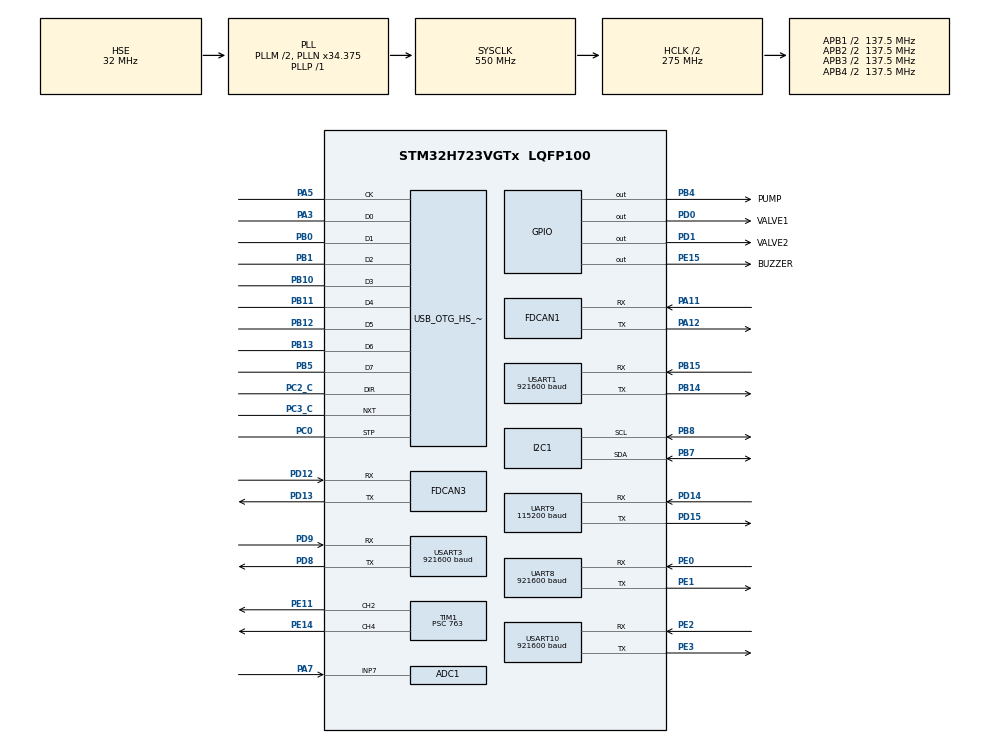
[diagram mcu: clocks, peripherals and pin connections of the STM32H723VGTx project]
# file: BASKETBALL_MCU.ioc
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ADC1.Channel-0\#ChannelRegularConversion=ADC_CHANNEL_7
ADC1.NbrOfConversionFlag=1
ADC1.OffsetNumber-0\#ChannelRegularConversion=ADC_OFFSET_NONE
ADC1.OffsetSignedSaturation-0\#ChannelRegularConversion=DISABLE
ADC1.Rank-0\#ChannelRegularConversion=1
ADC1.Resolution=ADC_RESOLUTION_16B
ADC1.SamplingTime-0\#ChannelRegularConversion=ADC_SAMPLETIME_1CYCLE_5
ADC1.master=1
CORTEX_M7.CPU_DCache=Enabled
CORTEX_M7.CPU_ICache=Enabled
Dma.I2C1_RX.3.Direction=DMA_PERIPH_TO_MEMORY
Dma.I2C1_RX.3.EventEnable=DISABLE
Dma.I2C1_RX.3.FIFOMode=DMA_FIFOMODE_DISABLE
Dma.I2C1_RX.3.Instance=DMA1_Stream2
Dma.I2C1_RX.3.MemDataAlignment=DMA_MDATAALIGN_BYTE
Dma.I2C1_RX.3.MemInc=DMA_MINC_ENABLE
Dma.I2C1_RX.3.Mode=DMA_NORMAL
Dma.I2C1_RX.3.PeriphDataAlignment=DMA_PDATAALIGN_BYTE
Dma.I2C1_RX.3.PeriphInc=DMA_PINC_DISABLE
Dma.I2C1_RX.3.Polarity=HAL_DMAMUX_REQ_GEN_RISING
Dma.I2C1_RX.3.Priority=DMA_PRIORITY_VERY_HIGH
Dma.I2C1_RX.3.RequestNumber=1
Dma.I2C1_RX.3.SignalID=NONE
Dma.I2C1_RX.3.SyncEnable=DISABLE
Dma.I2C1_RX.3.SyncPolarity=HAL_DMAMUX_SYNC_NO_EVENT
Dma.I2C1_RX.3.SyncRequestNumber=1
Dma.I2C1_RX.3.SyncSignalID=NONE
Dma.I2C1_TX.4.Direction=DMA_MEMORY_TO_PERIPH
Dma.I2C1_TX.4.EventEnable=DISABLE
Dma.I2C1_TX.4.FIFOMode=DMA_FIFOMODE_DISABLE
Dma.I2C1_TX.4.Instance=DMA1_Stream3
Dma.I2C1_TX.4.MemDataAlignment=DMA_MDATAALIGN_BYTE
Dma.I2C1_TX.4.MemInc=DMA_MINC_ENABLE
Dma.I2C1_TX.4.Mode=DMA_NORMAL
Dma.I2C1_TX.4.PeriphDataAlignment=DMA_PDATAALIGN_BYTE
Dma.I2C1_TX.4.PeriphInc=DMA_PINC_DISABLE
Dma.I2C1_TX.4.Polarity=HAL_DMAMUX_REQ_GEN_RISING
Dma.I2C1_TX.4.Priority=DMA_PRIORITY_VERY_HIGH
Dma.I2C1_TX.4.RequestNumber=1
Dma.I2C1_TX.4.SignalID=NONE
Dma.I2C1_TX.4.SyncEnable=DISABLE
Dma.I2C1_TX.4.SyncPolarity=HAL_DMAMUX_SYNC_NO_EVENT
Dma.I2C1_TX.4.SyncRequestNumber=1
Dma.I2C1_TX.4.SyncSignalID=NONE
Dma.MEMTOMEM.0.Direction=DMA_MEMORY_TO_MEMORY
Dma.MEMTOMEM.0.EventEnable=DISABLE
Dma.MEMTOMEM.0.FIFOMode=DMA_FIFOMODE_ENABLE
Dma.MEMTOMEM.0.FIFOThreshold=DMA_FIFO_THRESHOLD_FULL
Dma.MEMTOMEM.0.Instance=DMA1_Stream0
Dma.MEMTOMEM.0.MemBurst=DMA_MBURST_SINGLE
Dma.MEMTOMEM.0.MemDataAlignment=DMA_MDATAALIGN_BYTE
Dma.MEMTOMEM.0.MemInc=DMA_MINC_ENABLE
Dma.MEMTOMEM.0.Mode=DMA_NORMAL
Dma.MEMTOMEM.0.PeriphBurst=DMA_PBURST_SINGLE
Dma.MEMTOMEM.0.PeriphDataAlignment=DMA_PDATAALIGN_BYTE
Dma.MEMTOMEM.0.PeriphInc=DMA_PINC_ENABLE
Dma.MEMTOMEM.0.Polarity=HAL_DMAMUX_REQ_GEN_RISING
Dma.MEMTOMEM.0.Priority=DMA_PRIORITY_VERY_HIGH
Dma.MEMTOMEM.0.RequestNumber=1
Dma.MEMTOMEM.0.SignalID=NONE
Dma.MEMTOMEM.0.SyncEnable=DISABLE
Dma.MEMTOMEM.0.SyncPolarity=HAL_DMAMUX_SYNC_NO_EVENT
Dma.MEMTOMEM.0.SyncRequestNumber=1
Dma.MEMTOMEM.0.SyncSignalID=NONE
Dma.Request0=MEMTOMEM
Dma.Request1=USART1_RX
Dma.Request2=USART1_TX
Dma.Request3=I2C1_RX
Dma.Request4=I2C1_TX
Dma.Request5=USART3_RX
Dma.Request6=USART3_TX
Dma.USART1_RX.1.Direction=DMA_PERIPH_TO_MEMORY
Dma.USART1_RX.1.EventEnable=DISABLE
Dma.USART1_RX.1.FIFOMode=DMA_FIFOMODE_DISABLE
Dma.USART1_RX.1.Instance=DMA1_Stream5
Dma.USART1_RX.1.MemDataAlignment=DMA_MDATAALIGN_BYTE
Dma.USART1_RX.1.MemInc=DMA_MINC_ENABLE
Dma.USART1_RX.1.Mode=DMA_NORMAL
Dma.USART1_RX.1.PeriphDataAlignment=DMA_PDATAALIGN_BYTE
Dma.USART1_RX.1.PeriphInc=DMA_PINC_DISABLE
Dma.USART1_RX.1.Polarity=HAL_DMAMUX_REQ_GEN_RISING
Dma.USART1_RX.1.Priority=DMA_PRIORITY_VERY_HIGH
Dma.USART1_RX.1.RequestNumber=1
Dma.USART1_RX.1.SignalID=NONE
Dma.USART1_RX.1.SyncEnable=DISABLE
Dma.USART1_RX.1.SyncPolarity=HAL_DMAMUX_SYNC_NO_EVENT
Dma.USART1_RX.1.SyncRequestNumber=1
Dma.USART1_RX.1.SyncSignalID=NONE
Dma.USART1_TX.2.Direction=DMA_MEMORY_TO_PERIPH
Dma.USART1_TX.2.EventEnable=DISABLE
Dma.USART1_TX.2.FIFOMode=DMA_FIFOMODE_DISABLE
Dma.USART1_TX.2.Instance=DMA1_Stream4
Dma.USART1_TX.2.MemDataAlignment=DMA_MDATAALIGN_BYTE
Dma.USART1_TX.2.MemInc=DMA_MINC_ENABLE
Dma.USART1_TX.2.Mode=DMA_NORMAL
Dma.USART1_TX.2.PeriphDataAlignment=DMA_PDATAALIGN_BYTE
Dma.USART1_TX.2.PeriphInc=DMA_PINC_DISABLE
Dma.USART1_TX.2.Polarity=HAL_DMAMUX_REQ_GEN_RISING
Dma.USART1_TX.2.Priority=DMA_PRIORITY_VERY_HIGH
Dma.USART1_TX.2.RequestNumber=1
Dma.USART1_TX.2.SignalID=NONE
Dma.USART1_TX.2.SyncEnable=DISABLE
Dma.USART1_TX.2.SyncPolarity=HAL_DMAMUX_SYNC_NO_EVENT
Dma.USART1_TX.2.SyncRequestNumber=1
Dma.USART1_TX.2.SyncSignalID=NONE
Dma.USART3_RX.5.Direction=DMA_PERIPH_TO_MEMORY
Dma.USART3_RX.5.EventEnable=DISABLE
Dma.USART3_RX.5.FIFOMode=DMA_FIFOMODE_DISABLE
Dma.USART3_RX.5.Instance=DMA1_Stream1
Dma.USART3_RX.5.MemDataAlignment=DMA_MDATAALIGN_BYTE
Dma.USART3_RX.5.MemInc=DMA_MINC_ENABLE
Dma.USART3_RX.5.Mode=DMA_NORMAL
Dma.USART3_RX.5.PeriphDataAlignment=DMA_PDATAALIGN_BYTE
Dma.USART3_RX.5.PeriphInc=DMA_PINC_DISABLE
Dma.USART3_RX.5.Polarity=HAL_DMAMUX_REQ_GEN_RISING
Dma.USART3_RX.5.Priority=DMA_PRIORITY_VERY_HIGH
Dma.USART3_RX.5.RequestNumber=1
Dma.USART3_RX.5.SignalID=NONE
Dma.USART3_RX.5.SyncEnable=DISABLE
Dma.USART3_RX.5.SyncPolarity=HAL_DMAMUX_SYNC_NO_EVENT
Dma.USART3_RX.5.SyncRequestNumber=1
Dma.USART3_RX.5.SyncSignalID=NONE
Dma.USART3_TX.6.Direction=DMA_MEMORY_TO_PERIPH
Dma.USART3_TX.6.EventEnable=DISABLE
Dma.USART3_TX.6.FIFOMode=DMA_FIFOMODE_DISABLE
Dma.USART3_TX.6.Instance=DMA1_Stream6
Dma.USART3_TX.6.MemDataAlignment=DMA_MDATAALIGN_BYTE
Dma.USART3_TX.6.MemInc=DMA_MINC_ENABLE
Dma.USART3_TX.6.Mode=DMA_NORMAL
Dma.USART3_TX.6.PeriphDataAlignment=DMA_PDATAALIGN_BYTE
Dma.USART3_TX.6.PeriphInc=DMA_PINC_DISABLE
Dma.USART3_TX.6.Polarity=HAL_DMAMUX_REQ_GEN_RISING
Dma.USART3_TX.6.Priority=DMA_PRIORITY_VERY_HIGH
Dma.USART3_TX.6.RequestNumber=1
Dma.USART3_TX.6.SignalID=NONE
Dma.USART3_TX.6.SyncEnable=DISABLE
Dma.USART3_TX.6.SyncPolarity=HAL_DMAMUX_SYNC_NO_EVENT
Dma.USART3_TX.6.SyncRequestNumber=1
Dma.USART3_TX.6.SyncSignalID=NONE
FDCAN1.AutoRetransmission=ENABLE
FDCAN1.CalculateBaudRateNominal=1000000
FDCAN1.CalculateTimeBitNominal=1000
FDCAN1.CalculateTimeQuantumNominal=50.0
FDCAN1.DataTimeSeg1=15
FDCAN1.DataTimeSeg2=4
FDCAN1.NominalPrescaler=1
FDCAN1.NominalTimeSeg1=15
FDCAN1.NominalTimeSeg2=4
FDCAN1.ProtocolException=ENABLE
FDCAN1.RxFifo0ElmtsNbr=32
FDCAN1.StdFiltersNbr=1
FDCAN1.TxFifoQueueElmtsNbr=32
FDCAN3.AutoRetransmission=ENABLE
FDCAN3.CalculateBaudRateNominal=1000000
FDCAN3.CalculateTimeBitNominal=1000
FDCAN3.CalculateTimeQuantumNominal=50.0
FDCAN3.DataTimeSeg1=15
FDCAN3.DataTimeSeg2=4
FDCAN3.MessageRAMOffset=0x406
FDCAN3.NominalPrescaler=1
FDCAN3.NominalTimeSeg1=15
FDCAN3.NominalTimeSeg2=4
FDCAN3.ProtocolException=ENABLE
FDCAN3.RxFifo0ElmtsNbr=0
FDCAN3.RxFifo1ElmtsNbr=32
FDCAN3.StdFiltersNbr=1
FDCAN3.TxFifoQueueElmtsNbr=32
I2C1.OwnAddress=109
I2C1.Timing=0x60404E72
Mcu.Family=STM32H7
Mcu.Name=STM32H723VGTx
Mcu.Package=LQFP100
NVIC.ADC_IRQn=true\:0\:0\:false\:false\:true\:true\:true\:true
NVIC.DMA1_Stream0_IRQn=true\:0\:0\:false\:false\:true\:true\:true\:true
NVIC.DMA1_Stream1_IRQn=true\:0\:0\:false\:false\:true\:true\:true\:true
NVIC.DMA1_Stream2_IRQn=true\:0\:0\:false\:false\:true\:true\:true\:true
NVIC.DMA1_Stream3_IRQn=true\:0\:0\:false\:false\:true\:true\:true\:true
NVIC.DMA1_Stream4_IRQn=true\:0\:0\:false\:false\:true\:true\:true\:true
NVIC.DMA1_Stream5_IRQn=true\:0\:0\:false\:false\:true\:true\:true\:true
NVIC.DMA1_Stream6_IRQn=true\:0\:0\:false\:false\:true\:true\:true\:true
NVIC.FDCAN1_IT0_IRQn=true\:0\:0\:false\:false\:true\:true\:true\:true
NVIC.FDCAN3_IT0_IRQn=true\:0\:0\:false\:false\:true\:true\:true\:true
NVIC.I2C1_EV_IRQn=true\:0\:0\:false\:false\:true\:true\:true\:true
NVIC.OTG_HS_IRQn=true\:0\:0\:false\:false\:true\:true\:true\:true
NVIC.PriorityGroup=NVIC_PRIORITYGROUP_4
NVIC.TIM3_IRQn=true\:1\:0\:true\:false\:true\:true\:true\:true
NVIC.UART8_IRQn=true\:0\:0\:false\:false\:true\:true\:true\:true
NVIC.UART9_IRQn=true\:0\:0\:false\:false\:true\:true\:true\:true
NVIC.USART10_IRQn=true\:0\:0\:false\:false\:true\:true\:true\:true
NVIC.USART1_IRQn=true\:0\:0\:false\:false\:true\:true\:true\:true
NVIC.USART3_IRQn=true\:0\:0\:false\:false\:true\:true\:true\:true
PA11.Mode=FDCAN_Activate
PA11.Signal=FDCAN1_RX
PA12.Mode=FDCAN_Activate
PA12.Signal=FDCAN1_TX
PA13(JTMS/SWDIO).Mode=Serial_Wire
PA13(JTMS/SWDIO).Signal=DEBUG_JTMS-SWDIO
PA14(JTCK/SWCLK).Mode=Serial_Wire
PA14(JTCK/SWCLK).Signal=DEBUG_JTCK-SWCLK
PA3.GPIO_Speed_Only_High=GPIO_SPEED_FREQ_VERY_HIGH
PA3.Mode=Device_HS
PA3.Signal=USB_OTG_HS_ULPI_D0
PA5.GPIO_Speed_Only_High=GPIO_SPEED_FREQ_VERY_HIGH
PA5.Mode=Device_HS
PA5.Signal=USB_OTG_HS_ULPI_CK
PA7.Signal=ADCx_INP7
PB0.GPIO_Speed_Only_High=GPIO_SPEED_FREQ_VERY_HIGH
PB0.Mode=Device_HS
PB0.Signal=USB_OTG_HS_ULPI_D1
PB1.GPIO_Speed_Only_High=GPIO_SPEED_FREQ_VERY_HIGH
PB1.Mode=Device_HS
PB1.Signal=USB_OTG_HS_ULPI_D2
PB10.GPIO_Speed_Only_High=GPIO_SPEED_FREQ_VERY_HIGH
PB10.Mode=Device_HS
PB10.Signal=USB_OTG_HS_ULPI_D3
PB11.GPIO_Speed_Only_High=GPIO_SPEED_FREQ_VERY_HIGH
PB11.Mode=Device_HS
PB11.Signal=USB_OTG_HS_ULPI_D4
PB12.GPIO_Speed_Only_High=GPIO_SPEED_FREQ_VERY_HIGH
PB12.Mode=Device_HS
PB12.Signal=USB_OTG_HS_ULPI_D5
PB13.GPIO_Speed_Only_High=GPIO_SPEED_FREQ_VERY_HIGH
PB13.Mode=Device_HS
PB13.Signal=USB_OTG_HS_ULPI_D6
PB14.Mode=Asynchronous
PB14.Signal=USART1_TX
PB15.Mode=Asynchronous
PB15.Signal=USART1_RX
PB4(NJTRST).GPIO_Label=PUMP
PB4(NJTRST).Signal=GPIO_Output
PB5.GPIO_Speed_Only_High=GPIO_SPEED_FREQ_VERY_HIGH
PB5.Mode=Device_HS
PB5.Signal=USB_OTG_HS_ULPI_D7
PB7.Mode=I2C
PB7.Signal=I2C1_SDA
PB8.Mode=I2C
PB8.Signal=I2C1_SCL
PC0.GPIO_Speed_Only_High=GPIO_SPEED_FREQ_VERY_HIGH
PC0.Mode=Device_HS
PC0.Signal=USB_OTG_HS_ULPI_STP
PC2_C.GPIO_Speed_Only_High=GPIO_SPEED_FREQ_VERY_HIGH
PC2_C.Mode=Device_HS
PC2_C.Signal=USB_OTG_HS_ULPI_DIR
PC3_C.GPIO_Speed_Only_High=GPIO_SPEED_FREQ_VERY_HIGH
PC3_C.Mode=Device_HS
PC3_C.Signal=USB_OTG_HS_ULPI_NXT
PD0.GPIO_Label=VALVE1
PD0.Signal=GPIO_Output
PD1.GPIO_Label=VALVE2
PD1.Signal=GPIO_Output
PD12.Mode=FDCAN_Activate
PD12.Signal=FDCAN3_RX
PD13.Mode=FDCAN_Activate
PD13.Signal=FDCAN3_TX
PD14.Mode=Asynchronous
PD14.Signal=UART9_RX
PD15.Mode=Asynchronous
PD15.Signal=UART9_TX
PD8.Mode=Asynchronous
PD8.Signal=USART3_TX
PD9.Mode=Asynchronous
PD9.Signal=USART3_RX
PE0.Mode=Asynchronous
PE0.Signal=UART8_RX
PE1.Mode=Asynchronous
PE1.Signal=UART8_TX
PE11.Signal=S_TIM1_CH2
PE14.Signal=S_TIM1_CH4
PE15.GPIO_Label=BUZZER
PE15.Signal=GPIO_Output
PE2.Mode=Asynchronous
PE2.Signal=USART10_RX
PE3.Mode=Asynchronous
PE3.Signal=USART10_TX
PH0-OSC_IN.Mode=HSE-External-Oscillator
PH0-OSC_IN.Signal=RCC_OSC_IN
PH1-OSC_OUT.Mode=HSE-External-Oscillator
PH1-OSC_OUT.Signal=RCC_OSC_OUT
ProjectManager.HeapSize=0x200
ProjectManager.StackSize=0x400
ProjectManager.TargetToolchain=MDK-ARM V5.32
RCC.ADCFreq_Value=120000000
RCC.APB1Freq_Value=137500000
RCC.APB2Freq_Value=137500000
RCC.APB3Freq_Value=137500000
RCC.APB4Freq_Value=137500000
RCC.CortexFreq_Value=550000000
RCC.D1PPRE=RCC_APB3_DIV2
RCC.D2PPRE1=RCC_APB1_DIV2
RCC.D2PPRE2=RCC_APB2_DIV2
RCC.D3PPRE=RCC_APB4_DIV2
RCC.DIVM1=2
RCC.DIVN1=34
RCC.DIVN2=240
RCC.DIVN3=250
RCC.DIVP1=1
RCC.DIVQ1=10
RCC.DIVQ2=12
RCC.FDCANCLockSelection=RCC_FDCANCLKSOURCE_PLL2
RCC.HCLKFreq_Value=275000000
RCC.HPRE=RCC_HCLK_DIV2
RCC.HSE_VALUE=32000000
RCC.PLL2FRACN=0
RCC.PLL3FRACN=0
RCC.PLLFRACN=3072
RCC.PLLSourceVirtual=RCC_PLLSOURCE_HSE
RCC.SYSCLKFreq_VALUE=550000000
RCC.SYSCLKSource=RCC_SYSCLKSOURCE_PLLCLK
RCC.USBFreq_Value=55000000
SH.ADCx_INP7.0=ADC1_INP7,IN7-Single-Ended
SH.S_TIM1_CH2.0=TIM1_CH2,PWM Generation2 CH2
SH.S_TIM1_CH4.0=TIM1_CH4,PWM Generation4 CH4
TIM1.AutoReloadPreload=TIM_AUTORELOAD_PRELOAD_ENABLE
TIM1.Channel-PWM\ Generation2\ CH2=TIM_CHANNEL_2
TIM1.Channel-PWM\ Generation4\ CH4=TIM_CHANNEL_4
TIM1.OCMode_PWM-PWM\ Generation2\ CH2=TIM_OCMODE_PWM2
TIM1.OCMode_PWM-PWM\ Generation4\ CH4=TIM_OCMODE_PWM2
TIM1.OCPolarity_2=TIM_OCPOLARITY_LOW
TIM1.OCPolarity_4=TIM_OCPOLARITY_LOW
TIM1.Period=7199
TIM1.Prescaler=763
TIM3.AutoReloadPreload=TIM_AUTORELOAD_PRELOAD_ENABLE
TIM3.Period=1000-1
TIM3.Prescaler=275-1
TIM3.TIM_MasterOutputTrigger=TIM_TRGO_UPDATE
TIM3.TIM_MasterSlaveMode=TIM_MASTERSLAVEMODE_DISABLE
UART8.BaudRate=921600
UART9.BaudRate=115200
USART1.BaudRate=921600
USART1.VirtualMode-Asynchronous=VM_ASYNC
USART10.BaudRate=921600
USART10.VirtualMode=VM_ASYNC
USART3.BaudRate=921600
USART3.VirtualMode-Asynchronous=VM_ASYNC
USB_DEVICE.CLASS_NAME_HS=CDC
USB_DEVICE.MANUFACTURER_STRING=ACTION
USB_DEVICE.PRODUCT_STRING_CDC_HS=ACTION Module 1
USB_DEVICE.VirtualMode=Cdc
USB_DEVICE.VirtualModeHS=Cdc_HS
USB_OTG_HS.VirtualMode-Device_HS=Device_HS
VP_MEMORYMAP_VS_MEMORYMAP.Mode=CurAppReg
VP_TIM1_VS_ClockSourceINT.Mode=Internal
VP_TIM3_VS_ClockSourceINT.Mode=Internal
VP_USB_DEVICE_VS_USB_DEVICE_CDC_HS.Mode=CDC_HS
board=custom

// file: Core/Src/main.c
/* USER CODE BEGIN Header */
/**
  ******************************************************************************
  * @file           : main.c
  * @brief          : Main program body
  ******************************************************************************
  * @attention
  *
  * Copyright (c) 2025 STMicroelectronics.
  * All rights reserved.
  *
  * This software is licensed under terms that can be found in the LICENSE file
  * in the root directory of this software component.
  * If no LICENSE file comes with this software, it is provided AS-IS.
  *
  ******************************************************************************
  */
/* USER CODE END Header */
#include "main.h"
#include "adc.h"
#include "dma.h"
#include "fdcan.h"
#include "i2c.h"
#include "memorymap.h"
#include "tim.h"
#include "usart.h"
#include "usb_device.h"
#include "gpio.h"

/* USER CODE BEGIN Includes */
#include "my_main.h"
#include "my_tim.h"
#include "my_fdcan.h"
#include "stm32h7xx_hal_tim.h"
#include "my_usart.h"
#include "my_sensor.h"
/* USER CODE END Includes */

void SystemClock_Config(void);
void PeriphCommonClock_Config(void);

int main(void)
{

  /* Enable the CPU Cache */

  /* Enable I-Cache---------------------------------------------------------*/
  SCB_EnableICache();

  /* Enable D-Cache---------------------------------------------------------*/
  SCB_EnableDCache();

  /* MCU Configuration--------------------------------------------------------*/

  /* Reset of all peripherals, Initializes the Flash interface and the Systick. */
  HAL_Init();

  /* Configure the system clock */
  SystemClock_Config();

  /* Configure the peripherals common clocks */
  PeriphCommonClock_Config();

  /* USER CODE BEGIN SysInit */
  HAL_Delay(3000);
  /* USER CODE END SysInit */

  /* Initialize all configured peripherals */
  MX_GPIO_Init();
  MX_DMA_Init();
  MX_TIM3_Init();
  MX_USB_DEVICE_Init();
  MX_FDCAN3_Init();
  MX_FDCAN1_Init();
  MX_USART3_UART_Init();
  MX_USART1_UART_Init();
  MX_TIM1_Init();
  MX_USART10_UART_Init();
  MX_UART8_Init();
  MX_ADC1_Init();
  MX_I2C1_Init();
  MX_UART9_Init();
  /* USER CODE BEGIN 2 */
	TIM_ENABLE();
	FDCAN_ENABLE();
	USART_ENABLE();

	// 机械臂默认
	gRobot.driverState[0] = DISABLE_MODE;
	gRobot.driverState[1] = DISABLE_MODE;
	gRobot.driverState[2] = DISABLE_MODE;
	DriverState(&UP_FDCAN,PTP_MODE,1,DISABLE);
	DriverState(&UP_FDCAN,PTP_MODE,2,DISABLE);
	DriverState(&UP_FDCAN,PTP_MODE,3,DISABLE);
	upperArmCtrlTar = (driver_control*)malloc(sizeof(driver_control));
	forearmCtrlTar = (driver_control*)malloc(sizeof(driver_control));
	wristCtrlTar = (driver_control*)malloc(sizeof(driver_control));

	// 舵轮默认
	gRobot.steeringWheelMode = SPD_CURR_CTRL_MODE;

	// app
	gRobot.app.stopMoveFlag = 1;
	gRobot.app.stopSpinFlag = 1;
	gRobot.rollerSpeed1 = 360;
	gRobot.rollerSpeed2 = 360;
	//初始化滤波
	IIRFilter_Init();

	BEEP_ON;
	HAL_Delay(500);
	BEEP_OFF;

	uint8_t resetOK = 0;
	// 给驱动器发复位指令喵
	while(!resetOK)
	{
		if (timer_5ms_Flag)
		{
			static int cnt = 0;

			if (cnt <= 5)
			{
				ResetFlag(&UP_FDCAN, PTP_MODE, UPPER_ARM_ID);
			}

			ReadPVT(&UP_FDCAN, PTP_MODE, UPPER_ARM_ID);

			cnt++;

			if(cnt == 200)
			{
				resetOK = 1;
			}

			timer_5ms_Flag = 0;
		}
	}

	BEEP_ON;
	HAL_Delay(100);
	BEEP_OFF;

	if(resetOK)
	{
		gRobot.driverState[0] = POS_MODE;
		gRobot.driverState[1] = POS_MODE;
		gRobot.driverState[2] = POS_MODE;
	}
  /* USER CODE END 2 */

  /* Infinite loop */
  /* USER CODE BEGIN WHILE */
	int flag = 0;
  while (1)
  {
			if(flag == 0)
			{
				HAL_GPIO_WritePin(VALVE1_GPIO_Port, VALVE1_Pin, GPIO_PIN_RESET);
				HAL_GPIO_WritePin(VALVE2_GPIO_Port, VALVE2_Pin, GPIO_PIN_SET);
				//打开夹爪
				flag = 1;
			}
			if(flag == 1)
			{
				main_loop();
			}
//		HAL_GPIO_WritePin(VALVE1_GPIO_Port, VALVE1_Pin, GPIO_PIN_SET);
//		HAL_GPIO_WritePin(VALVE2_GPIO_Port, VALVE2_Pin, GPIO_PIN_RESET);

    /* USER CODE END WHILE */

  }
}

void SystemClock_Config(void)
{
  RCC_OscInitTypeDef RCC_OscInitStruct = {0};
  RCC_ClkInitTypeDef RCC_ClkInitStruct = {0};

  /** Supply configuration update enable
  */
  HAL_PWREx_ConfigSupply(PWR_LDO_SUPPLY);

  /** Configure the main internal regulator output voltage
  */
  __HAL_PWR_VOLTAGESCALING_CONFIG(PWR_REGULATOR_VOLTAGE_SCALE0);

  while(!__HAL_PWR_GET_FLAG(PWR_FLAG_VOSRDY)) {}

  /** Initializes the RCC Oscillators according to the specified parameters
  * in the RCC_OscInitTypeDef structure.
  */
  RCC_OscInitStruct.OscillatorType = RCC_OSCILLATORTYPE_HSE;
  RCC_OscInitStruct.HSEState = RCC_HSE_ON;
  RCC_OscInitStruct.PLL.PLLState = RCC_PLL_ON;
  RCC_OscInitStruct.PLL.PLLSource = RCC_PLLSOURCE_HSE;
  RCC_OscInitStruct.PLL.PLLM = 2;
  RCC_OscInitStruct.PLL.PLLN = 34;
  RCC_OscInitStruct.PLL.PLLP = 1;
  RCC_OscInitStruct.PLL.PLLQ = 10;
  RCC_OscInitStruct.PLL.PLLR = 2;
  RCC_OscInitStruct.PLL.PLLRGE = RCC_PLL1VCIRANGE_3;
  RCC_OscInitStruct.PLL.PLLVCOSEL = RCC_PLL1VCOWIDE;
  RCC_OscInitStruct.PLL.PLLFRACN = 3072;
  if (HAL_RCC_OscConfig(&RCC_OscInitStruct) != HAL_OK)
  {
    Error_Handler();
  }

  /** Initializes the CPU, AHB and APB buses clocks
  */
  RCC_ClkInitStruct.ClockType = RCC_CLOCKTYPE_HCLK|RCC_CLOCKTYPE_SYSCLK
                              |RCC_CLOCKTYPE_PCLK1|RCC_CLOCKTYPE_PCLK2
                              |RCC_CLOCKTYPE_D3PCLK1|RCC_CLOCKTYPE_D1PCLK1;
  RCC_ClkInitStruct.SYSCLKSource = RCC_SYSCLKSOURCE_PLLCLK;
  RCC_ClkInitStruct.SYSCLKDivider = RCC_SYSCLK_DIV1;
  RCC_ClkInitStruct.AHBCLKDivider = RCC_HCLK_DIV2;
  RCC_ClkInitStruct.APB3CLKDivider = RCC_APB3_DIV2;
  RCC_ClkInitStruct.APB1CLKDivider = RCC_APB1_DIV2;
  RCC_ClkInitStruct.APB2CLKDivider = RCC_APB2_DIV2;
  RCC_ClkInitStruct.APB4CLKDivider = RCC_APB4_DIV2;

  if (HAL_RCC_ClockConfig(&RCC_ClkInitStruct, FLASH_LATENCY_3) != HAL_OK)
  {
    Error_Handler();
  }
}

void PeriphCommonClock_Config(void)
{
  RCC_PeriphCLKInitTypeDef PeriphClkInitStruct = {0};

  /** Initializes the peripherals clock
  */
  PeriphClkInitStruct.PeriphClockSelection = RCC_PERIPHCLK_ADC|RCC_PERIPHCLK_FDCAN;
  PeriphClkInitStruct.PLL2.PLL2M = 32;
  PeriphClkInitStruct.PLL2.PLL2N = 240;
  PeriphClkInitStruct.PLL2.PLL2P = 2;
  PeriphClkInitStruct.PLL2.PLL2Q = 12;
  PeriphClkInitStruct.PLL2.PLL2R = 2;
  PeriphClkInitStruct.PLL2.PLL2RGE = RCC_PLL2VCIRANGE_0;
  PeriphClkInitStruct.PLL2.PLL2VCOSEL = RCC_PLL2VCOMEDIUM;
  PeriphClkInitStruct.PLL2.PLL2FRACN = 0;
  PeriphClkInitStruct.FdcanClockSelection = RCC_FDCANCLKSOURCE_PLL2;
  PeriphClkInitStruct.AdcClockSelection = RCC_ADCCLKSOURCE_PLL2;
  if (HAL_RCCEx_PeriphCLKConfig(&PeriphClkInitStruct) != HAL_OK)
  {
    Error_Handler();
  }
}

void Error_Handler(void)
{
  __disable_irq();
  while (1)
  {
  }
}
